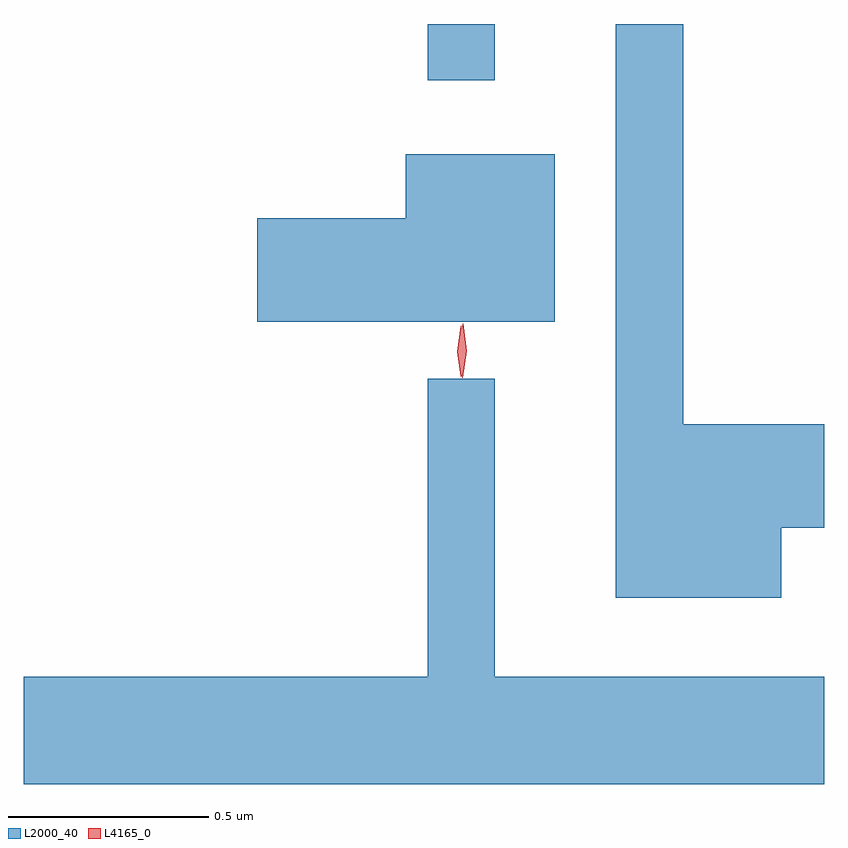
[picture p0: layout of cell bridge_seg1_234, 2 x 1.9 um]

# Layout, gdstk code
import gdstk
lib = gdstk.Library(unit=1e-6, precision=1e-09)
def R(c, l, rs):  # rectangles x0, y0, x1, y1
    for r in rs: c.add(gdstk.rectangle(r[:2], r[2:], *l))
def P(c, l, *ps):  # polygons
    for p in ps: c.add(gdstk.Polygon(p, *l))
L2000_40 = (2000, 40)
L4165_0 = (4165, 0)

bridge_seg1_234 = lib.new_cell('bridge_seg1_234')
R(bridge_seg1_234, L2000_40, [(828.811,863.593,828.979,863.734)])
P(bridge_seg1_234, L2000_40, [(829.694,862.476),(829.802,862.476),(829.802,862.734),(829.449,862.734),(829.449,863.734),(829.281,863.734),(829.281,862.301),(829.694,862.301)],
  [(829.129,863.409),(828.756,863.409),(828.756,863.249),(828.386,863.249),(828.386,862.991),(829.129,862.991)],
  [(829.802,862.104),(828.979,862.104),(828.979,862.848),(828.811,862.848),(828.811,862.104),(827.802,862.104),(827.802,861.836),(829.802,861.836)])
P(bridge_seg1_234, L4165_0, [(828.898,862.85),(828.898,862.85),(828.889,862.918),(828.899,862.985),(828.9,862.986),(828.9,862.985),(828.909,862.918),(828.899,862.85)],
  [(828.895,862.853),(828.894,862.854),(828.885,862.916),(828.894,862.979),(828.895,862.98),(828.895,862.979),(828.905,862.916),(828.895,862.854)])

lib.write_gds('bridge_seg1_234.gds')
